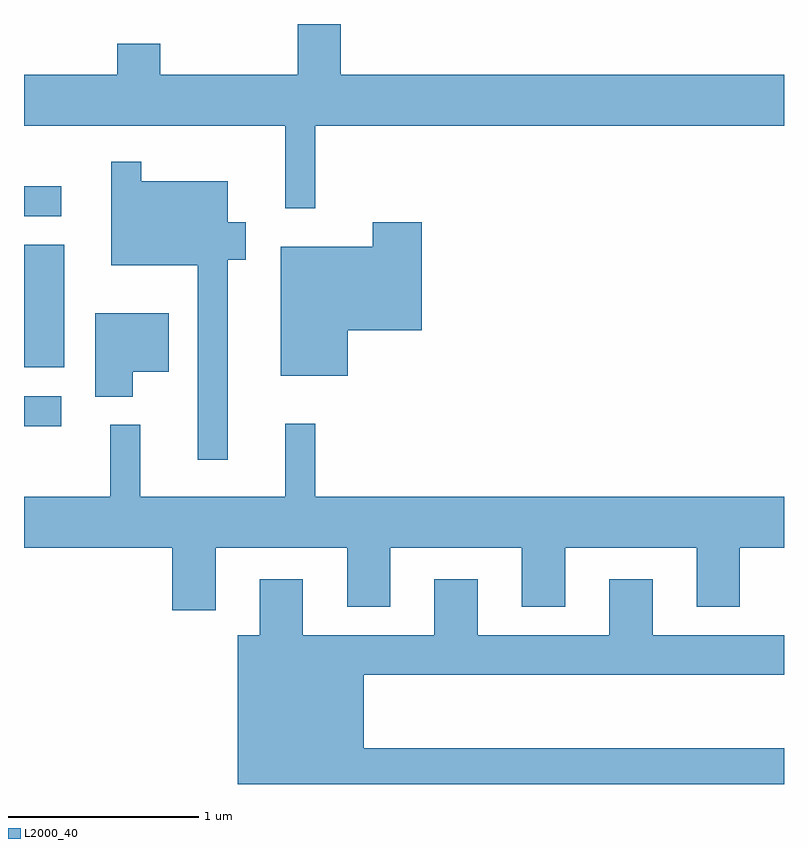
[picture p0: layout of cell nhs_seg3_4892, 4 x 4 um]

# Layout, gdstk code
import gdstk
lib = gdstk.Library(unit=1e-6, precision=1e-09)
def R(c, l, rs):  # rectangles x0, y0, x1, y1
    for r in rs: c.add(gdstk.rectangle(r[:2], r[2:], *l))
def P(c, l, *ps):  # polygons
    for p in ps: c.add(gdstk.Polygon(p, *l))
L2000_40 = (2000, 40)

nhs_seg3_4892 = lib.new_cell('nhs_seg3_4892')
R(nhs_seg3_4892, L2000_40, [(329.611,1117.776,329.808,1117.934), (329.611,1118.086,329.824,1118.729), (329.611,1118.881,329.808,1119.039)])
P(nhs_seg3_4892, L2000_40, [(331.144,1119.356),(333.611,1119.356),(333.611,1119.624),(331.279,1119.624),(331.279,1119.892),(331.051,1119.892),(331.051,1119.624),(330.329,1119.624),(330.329,1119.789),(330.101,1119.789),(330.101,1119.624),(329.611,1119.624),(329.611,1119.356),(330.986,1119.356),(330.986,1118.923),(331.144,1118.923)],
  [(330.684,1118.651),(330.779,1118.651),(330.779,1118.849),(330.684,1118.849),(330.684,1119.064),(330.229,1119.064),(330.229,1119.168),(330.071,1119.168),(330.071,1118.621),(330.526,1118.621),(330.526,1117.598),(330.684,1117.598)],
  [(331.314,1118.281),(331.704,1118.281),(331.704,1118.849),(331.446,1118.849),(331.446,1118.719),(330.961,1118.719),(330.961,1118.041),(331.314,1118.041)],
  [(330.184,1118.061),(330.374,1118.061),(330.374,1118.369),(329.986,1118.369),(329.986,1117.931),(330.184,1117.931)],
  [(330.619,1117.136),(331.311,1117.136),(331.311,1116.826),(331.539,1116.826),(331.539,1117.136),(332.231,1117.136),(332.231,1116.826),(332.459,1116.826),(332.459,1117.136),(333.151,1117.136),(333.151,1116.826),(333.379,1116.826),(333.379,1117.136),(333.611,1117.136),(333.611,1117.404),(331.144,1117.404),(331.144,1117.788),(330.986,1117.788),(330.986,1117.404),(330.224,1117.404),(330.224,1117.783),(330.066,1117.783),(330.066,1117.404),(329.611,1117.404),(329.611,1117.136),(330.391,1117.136),(330.391,1116.806),(330.619,1116.806)],
  [(333.611,1116.079),(331.399,1116.079),(331.399,1116.466),(333.611,1116.466),(333.611,1116.674),(332.919,1116.674),(332.919,1116.969),(332.691,1116.969),(332.691,1116.674),(331.999,1116.674),(331.999,1116.969),(331.771,1116.969),(331.771,1116.674),(331.079,1116.674),(331.079,1116.969),(330.851,1116.969),(330.851,1116.674),(330.736,1116.674),(330.736,1115.892),(333.611,1115.892)])

lib.write_gds('nhs_seg3_4892.gds')
